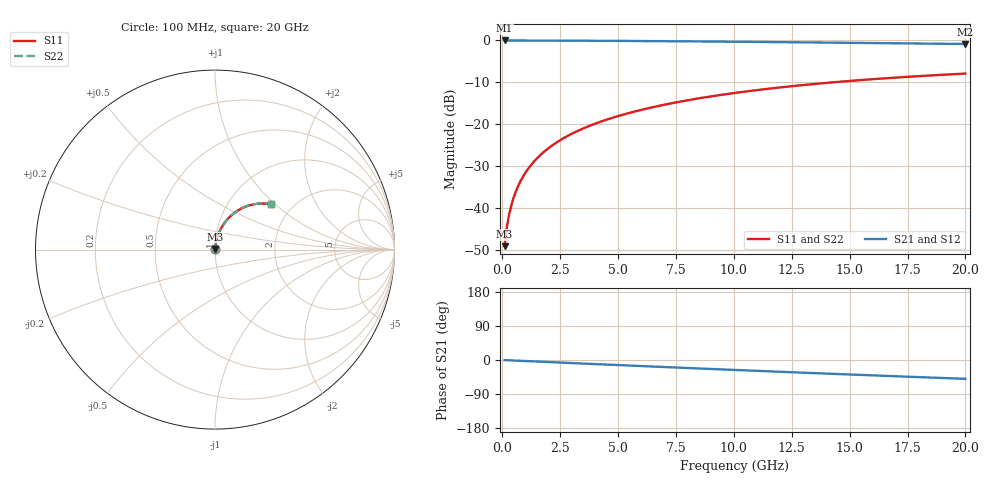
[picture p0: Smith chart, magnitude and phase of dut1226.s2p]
! Touchstone file exported from HFSS 2026.1.0
!  File:  C:/ffzhzh/LocalFiles/Ansys_Project_Files/temp_train_TMRDL_1226_1783163423_22436.aedt
!  Generated:  07:11:51 PM Jul  4, 2026
!  Design:  TMRDL
!  Project:  temp_train_TMRDL_1226_1783163423_22436
! Variables:
!  h_bsmrdl = 2um
!  h_ox = 20um
!  h_rdl = 5um
!  h_sub = 80um
!  h_tmrdl = 5.61um
!  h_tsv = 80um
!  h_via = 3um
!  l_bsmrdl = 300um
!  l_sub = 1168.23um
!  l_tmrdl = 768.23um
!  m_sub = 200um
!  pitch = 56.07um
!  r_tsv = 6um
!  s_tmrdl = 10um
!  w_bsmrdl = 18um
!  w_sub = 500um
!  w_tmrdl = 26.93um
!  x_tsv_center1 = 781.695um
!  x_tsv_center2 = 1099.695um
!  x_tsv_center3 = 1894.855um
!  x_tsv_center4 = 2212.855um
!  x_tsv_center5 = 3008.015um
!  x_tsv_center6 = 3326.015um
# GHz S MA R 50.000000
! Terminal data exported
! Port[1] = TM_RDL1_1_T1
! Port[2] = TM_RDL1_1_T2
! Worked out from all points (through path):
!   200 points, 100 MHz to 20 GHz, reference 50 ohm
!   highest |S21| = -0.02 dB at 100 MHz (marker M1); lowest = -0.9 dB at 20 GHz (marker M2)
!   group delay of S21, straight-line fit = 6.9 ps
!   lowest |S11| = -49.2 dB at 100 MHz (marker M3), VSWR 1.01, Z = 50.2 + j0.283 ohm
!   |S11| at or under -10 dB: start of sweep to 14.33 GHz
!   |S22| runs from -49.2 to -7.9 dB; largest |S21 - S12| = 8.1e-15
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0.1  0.003471 54.3  0.998 -0.3  0.998 -0.3  0.003471 54.3
! Gamma 0 0 0 0
! Port Impedance 50 0 50 0
0.2  0.005927 67.8  0.9978 -0.6  0.9978 -0.6  0.005927 67.8
0.3  0.008428 73.2  0.9977 -0.8  0.9977 -0.8  0.008428 73.2
0.4  0.01094 76.1  0.9976 -1.1  0.9976 -1.1  0.01094 76.1
0.5  0.01347 78.0  0.9975 -1.4  0.9975 -1.4  0.01347 78.0
0.7  0.01856 80.0  0.9973 -1.9  0.9973 -1.9  0.01856 80.0
0.8  0.02111 80.6  0.9972 -2.2  0.9972 -2.2  0.02111 80.6
1  0.02623 81.2  0.9969 -2.7  0.9969 -2.7  0.02623 81.2
1.2  0.03134 81.4  0.9967 -3.3  0.9967 -3.3  0.03134 81.4
1.4  0.03645 81.4  0.9963 -3.8  0.9963 -3.8  0.03645 81.4
1.7  0.04408 81.1  0.9958 -4.6  0.9958 -4.6  0.04408 81.1
2  0.05166 80.7  0.9952 -5.5  0.9952 -5.5  0.05166 80.7
2.7  0.06914 79.3  0.9935 -7.3  0.9935 -7.3  0.06914 79.3
3.5  0.08876 77.4  0.9913 -9.5  0.9913 -9.5  0.08876 77.4
4.2  0.1056 75.8  0.989 -11.3  0.989 -11.3  0.1056 75.8
5  0.1245 73.8  0.9863 -13.4  0.9863 -13.4  0.1245 73.8
6.8  0.1658 69.5  0.9792 -18.1  0.9792 -18.1  0.1658 69.5
8.3  0.1989 65.9  0.9724 -21.9  0.9724 -21.9  0.1989 65.9
10.1  0.2366 61.6  0.9633 -26.4  0.9633 -26.4  0.2366 61.6
13.4  0.2999 53.8  0.9448 -34.5  0.9448 -34.5  0.2999 53.8
16.7  0.3548 46.2  0.9251 -42.2  0.9251 -42.2  0.3548 46.2
20  0.4012 39.0  0.9059 -49.7  0.9059 -49.7  0.4012 39.0
